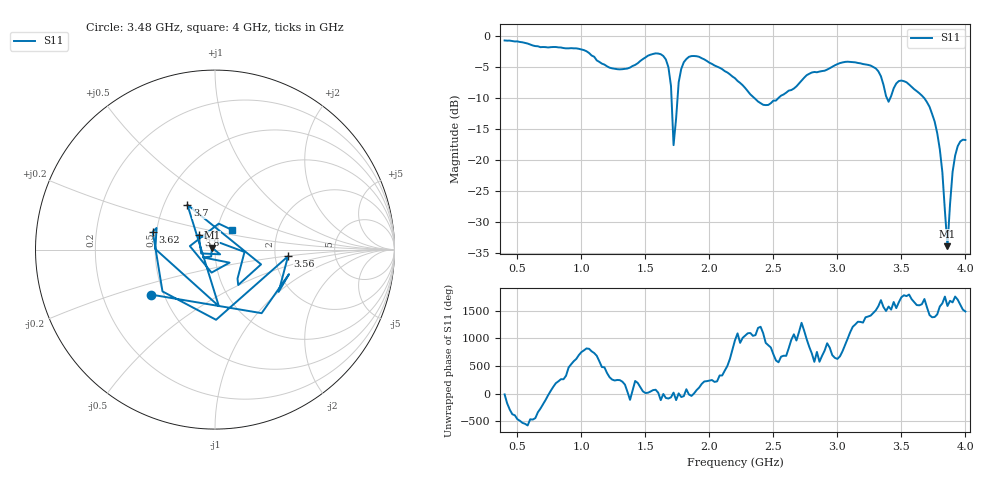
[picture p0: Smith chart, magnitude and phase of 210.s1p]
!Created with skrf (http://scikit-rf.org).
# Hz S RI R 50.0
!freq ReS11 ImS11
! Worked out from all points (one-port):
!   181 points, 400 MHz to 4 GHz, reference 50 ohm
!   lowest |S11| = -33.9 dB at 3.86 GHz (marker M1), VSWR 1.04, Z = 48.3 + j1.05 ohm
!   |S11| at or under -10 dB: 1.704 GHz to 1.751 GHz (47.03 MHz wide, 2.72 % of centre); 2.353 GHz to 2.538 GHz (184.6 MHz wide, 7.55 % of centre); 3.68 GHz to end of sweep (the widest 3 of 4)
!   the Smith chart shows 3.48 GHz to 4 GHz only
!   S11 on the Smith chart (normalised r, x): 3.48 GHz: 0.43, -0.26; 3.56 GHz: 2.36, -0.21; 3.62 GHz: 0.48, +0.11; 3.7 GHz: 0.66, +0.36; 3.8 GHz: 0.82, +0.14; 4 GHz: 1.18, +0.26
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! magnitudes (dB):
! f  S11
! 400 MHz  -0.7
! 860 MHz  -1.9
! 1.3 GHz  -5.3
! 1.58 GHz  -2.7
! 1.66 GHz  -3.7
! 1.7 GHz  -8.0
! 1.72 GHz  -17.6
! 1.76 GHz  -7.4
! 1.8 GHz  -4.2
! 1.86 GHz  -3.2
! 2.2 GHz  -6.8
! 2.42 GHz  -11.1
! 2.66 GHz  -8.4
! 2.8 GHz  -5.8
! 3.1 GHz  -4.1
! 3.3 GHz  -5.2
! 3.4 GHz  -10.6
! 3.48 GHz  -7.2
! 3.56 GHz  -7.8
! 3.62 GHz  -8.9
! 3.7 GHz  -10.6
! 3.76 GHz  -13.8
! 3.8 GHz  -18.2
! 3.82 GHz  -21.9
! 3.86 GHz  -33.9
! 3.9 GHz  -21.9
! 3.92 GHz  -19.3
! 4 GHz  -16.7
